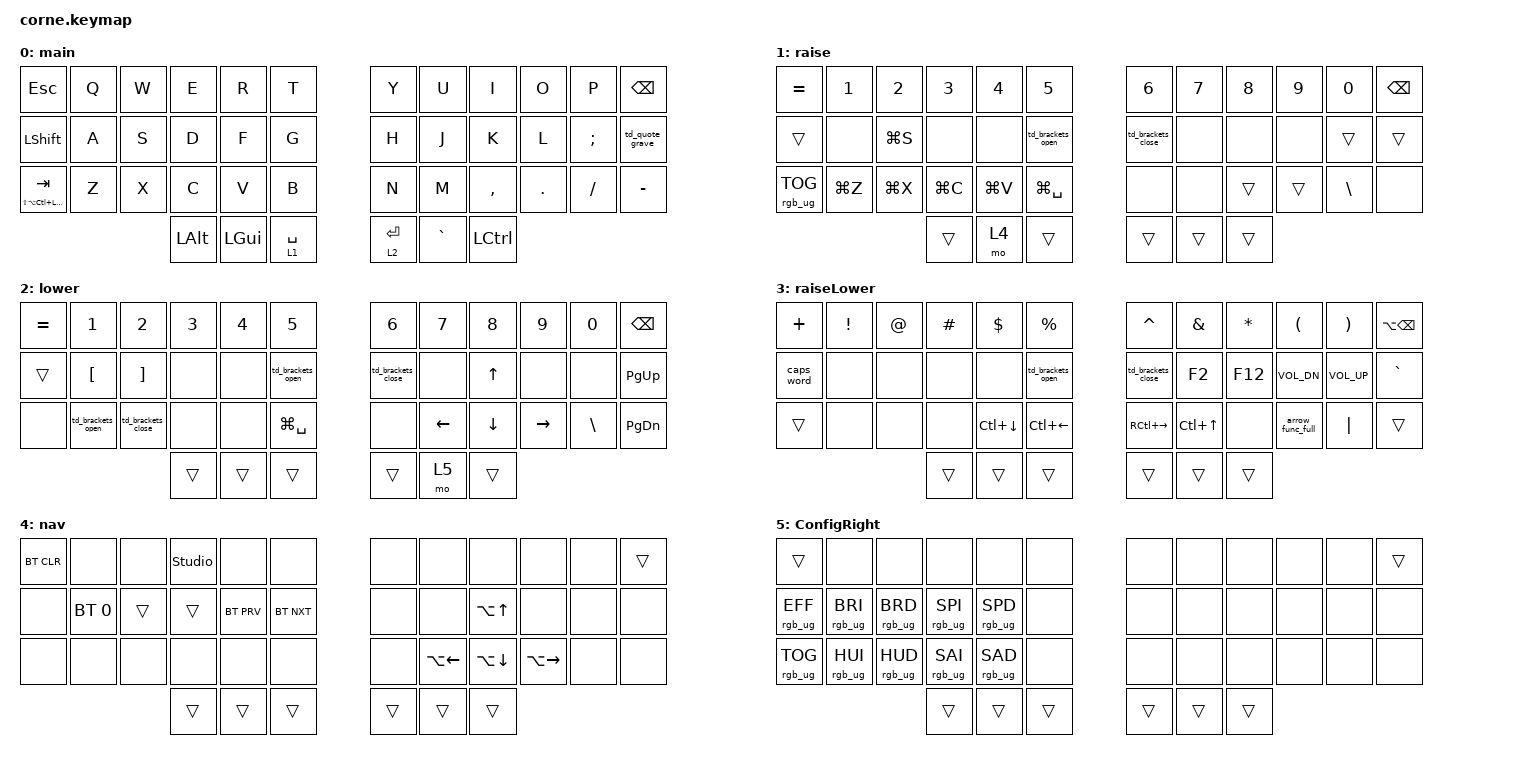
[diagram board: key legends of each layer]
/*
 * Copyright (c) 2020 The ZMK Contributors
 *
 * SPDX-License-Identifier: MIT
 */

#include <dt-bindings/led/led.h>
#include <behaviors.dtsi>
#include <dt-bindings/zmk/bt.h>
#include <dt-bindings/zmk/keys.h>
#include <dt-bindings/zmk/keys.h>
#include <dt-bindings/zmk/rgb.h>

// #include "./macros.dtsi"
// #include "./behaviors.dtsi"

nice_view_spi: &spi0 {
    compatible = "nordic,nrf-spim";
    pinctrl-0 = <&spi0_default>;
    pinctrl-1 = <&spi0_sleep>;
    pinctrl-names = "default", "sleep";

    cs-gpios = <&pro_micro 0 GPIO_ACTIVE_HIGH>;
};

/ {
    macros {
        macro_layer1_pause_release: macro_layer1_pause_release {
            compatible = "zmk,behavior-macro";
            label = "macro_layer1_pause_release";
            #binding-cells = <0>;
            bindings =
                <&macro_press>,
                <&mo 1>,
                <&macro_pause_for_release>,
                <&macro_release>,
                <&mo 1>,
                <&macro_tap>,
                <&to 0>;
        };

        macro_layer2_pause_release: macro_layer2_pause_release {
            compatible = "zmk,behavior-macro";
            label = "macro_layer2_pause_release";
            #binding-cells = <0>;
            bindings =
                <&macro_press>,
                <&mo 2>,
                <&macro_pause_for_release>,
                <&macro_release>,
                <&mo 2>,
                <&macro_tap>,
                <&to 0>;
        };

        macro_cmd_space: macro_cmd_space {
            compatible = "zmk,behavior-macro";
            label = "macro_cmd_space";
            #binding-cells = <0>;
            bindings =
                <&macro_press>,
                <&kp LEFT_GUI>,
                <&macro_tap>,
                <&kp SPACE>,
                <&macro_release>,
                <&kp LEFT_GUI>;
        };

        macro_arrow_function: macro_arrow_function {
            compatible = "zmk,behavior-macro";
            label = "macro_arrow_function";
            #binding-cells = <0>;
            bindings =
                <&macro_tap>,
                <&kp EQUAL>,
                <&macro_tap>,
                <&kp GREATER_THAN>;
        };

        control_right: control_right {
            compatible = "zmk,behavior-macro";
            label = "control_right";
            #binding-cells = <0>;
            bindings =
                <&macro_press>,
                <&kp LEFT_CONTROL>,
                <&macro_tap>,
                <&kp RIGHT>,
                <&macro_release>,
                <&kp LEFT_CONTROL>;
        };

        control_left: control_left {
            compatible = "zmk,behavior-macro";
            label = "control_left";
            #binding-cells = <0>;
            bindings =
                <&macro_press>,
                <&kp LEFT_CONTROL>,
                <&macro_tap>,
                <&kp LEFT>,
                <&macro_release>,
                <&kp LEFT_CONTROL>;
        };

        emoji_press: emoji_press {
            compatible = "zmk,behavior-macro";
            label = "emoji_press";
            #binding-cells = <0>;
            bindings =
                <&macro_press>,
                <&kp LEFT_CONTROL &kp LEFT_COMMAND>,
                <&macro_tap>,
                <&kp SPACE>,
                <&macro_release>,
                <&kp LEFT_CONTROL &kp LEFT_COMMAND>;
        };

        arrow_functions: arrow_functions {
            compatible = "zmk,behavior-macro";
            label = "arrow_functions";
            #binding-cells = <0>;
            bindings =
                <&macro_tap>,
                <&kp LEFT_PARENTHESIS>,
                <&macro_tap>,
                <&kp RIGHT_PARENTHESIS>,
                <&macro_tap>,
                <&kp SPACE>,
                <&macro_tap>,
                <&kp EQUAL>,
                <&macro_tap>,
                <&kp GREATER_THAN>,
                <&macro_tap>,
                <&kp SPACE>,
                <&macro_tap>,
                <&kp LEFT_BRACE>,
                <&macro_tap>,
                <&kp RIGHT_BRACE>,
                <&macro_tap>,
                <&kp LEFT>;
        };
    };

    behaviors {
        ht_tp_l1: hold_tap_layer_1 {
            compatible = "zmk,behavior-hold-tap";
            label = "HOLD_TAP_LAYER_1";
            #binding-cells = <2>;
            flavor = "tap-preferred";
            tapping-term-ms = <200>;
            quick-tap-ms = <125>;
            global-quick-tap;
            bindings = <&macro_layer1_pause_release &kp>;
        };

        ht_tp_l2: hold_tap_layer_2 {
            compatible = "zmk,behavior-hold-tap";
            label = "HOLD_TAP_LAYER_2";
            #binding-cells = <2>;
            flavor = "tap-preferred";
            tapping-term-ms = <200>;
            quick-tap-ms = <125>;
            global-quick-tap;
            bindings = <&macro_layer2_pause_release &kp>;
        };

        td_ctrl_opt: tap_dance_control_option {
            compatible = "zmk,behavior-tap-dance";
            label = "TAP_DANCE_CONTROL_OPTION";
            #binding-cells = <0>;
            tapping-term-ms = <200>;
            bindings = <&kp LEFT_CONTROL>, <&kp LEFT_ALT>;
        };

        td_arrow_function: tap_dance_arrow_function {
            compatible = "zmk,behavior-tap-dance";
            label = "TAP_DANCE_ARROW_FUNCTION";
            #binding-cells = <0>;
            tapping-term-ms = <200>;
            bindings = <&kp SEMI>, <&macro_arrow_function>;
        };

        td_brackets_open: tap_dance_brackets_open {
            compatible = "zmk,behavior-tap-dance";
            label = "TAP_DANCE_BRACKETS_OPEN";
            #binding-cells = <0>;
            tapping-term-ms = <200>;
            bindings = <&kp LEFT_BRACE>, <&kp LBKT>, <&kp LEFT_PARENTHESIS>;
        };

        td_brackets_close: tap_dance_brackets_close {
            compatible = "zmk,behavior-tap-dance";
            label = "TAP_DANCE_BRACKETS_CLOSE";
            #binding-cells = <0>;
            tapping-term-ms = <200>;
            bindings = <&kp RIGHT_BRACE>, <&kp RBKT>, <&kp RIGHT_PARENTHESIS>;
        };

        arrow_func_full: new-behavior {
            compatible = "zmk,behavior-tap-dance";
            label = "NEW_BEHAVIOR";
            #binding-cells = <0>;
            bindings = <&macro_arrow_function>, <&arrow_functions>;

            tapping-term-ms = <400>;
        };

        dbl_tap_hold: dbl_tap_hold {
            compatible = "zmk,behavior-tap-dance";
            label = "DBL_TAP_HOLD";
            #binding-cells = <0>;
            bindings = <&lt 2 ENTER>, <&lt 5 ENTER>;
        };

        td_opt_tog: td_opt_tog {
            compatible = "zmk,behavior-tap-dance";
            label = "TD_OPT_TOG";
            #binding-cells = <0>;
            bindings = <&kp LEFT_ALT>, <&kt LALT>;
        };

        td_quote_grave: td_quote_grave {
            compatible = "zmk,behavior-tap-dance";
            label = "TD_QUOTE_GRAVE";
            #binding-cells = <0>;
            bindings = <&kp SINGLE_QUOTE>, <&kp DOUBLE_QUOTES>, <&kp GRAVE>;

            tapping-term-ms = <150>;
        };

        td_ctrl_tog: td_ctrl_tog {
            compatible = "zmk,behavior-tap-dance";
            label = "TD_CTRL_TOG";
            #binding-cells = <0>;
            bindings = <&kp LEFT_CONTROL>, <&kt LCTRL>;
        };

        td_cmd_tog: td_cmd_tog {
            compatible = "zmk,behavior-tap-dance";
            label = "TD_CMD_TOG";
            #binding-cells = <0>;
            bindings = <&kp LGUI>, <&kt LGUI>;
        };
    };

    conditional_layers {
        compatible = "zmk,conditional-layers";

        tri_layer {
            if-layers = <1 2>;
            then-layer = <3>;
        };
    };

    combos {
        compatible = "zmk,combos";

        raycast {
            bindings = <&macro_cmd_space>;
            key-positions = <53 42>;
            layers = <0 3 1 2>;
        };

        esc {
            bindings = <&kp ESC>;
            key-positions = <1 2>;
            layers = <0 1 2 3 5 4>;
        };

        shift {
            bindings = <&kp LEFT_SHIFT>;
            key-positions = <13 14>;
            layers = <0 1 2 3 5 4>;
        };

        tab {
            bindings = <&kp TAB>;
            key-positions = <25 26>;
            layers = <3 2 1 0 4 5>;
        };

        bkspc {
            bindings = <&kp BACKSPACE>;
            key-positions = <10 9>;
        };

        quote {
            bindings = <&kp SINGLE_QUOTE>;
            key-positions = <22 21>;
        };

        minus {
            bindings = <&kp MINUS>;
            key-positions = <34 33>;
        };

        hr_tab {
            bindings = <&kp TAB>;
            key-positions = <16 15>;
        };

        hr_bkspc {
            bindings = <&kp BACKSPACE>;
            key-positions = <19 20>;
        };
    };

    keymap {
        compatible = "zmk,keymap";

        Default {
            // -----------------------------------------------------------------------------------------
            // |  TAB |  Q  |  W  |  E  |  R  |  T  |   |  Y  |  U   |  I  |  O  |  P  | BKSP |
            // | CTRL |  A  |  S  |  D  |  F  |  G  |   |  H  |  J   |  K  |  L  |  ;  |  '   |
            // | SHFT |  Z  |  X  |  C  |  V  |  B  |   |  N  |  M   |  ,  |  .  |  /  | ESC  |
            //                    | GUI | LWR | SPC |   | ENT | RSE  | ALT |

            bindings = <
&kp ESC                       &kp Q  &kp W  &kp E         &kp R         &kp T        &kp Y        &kp U      &kp I             &kp O    &kp P     &kp BSPC
&kp LEFT_SHIFT                &kp A  &kp S  &kp D         &kp F         &kp G        &kp H        &kp J      &kp K             &kp L    &kp SEMI  &td_quote_grave
&mt LS(LA(LC(LEFT_GUI))) TAB  &kp Z  &kp X  &kp C         &kp V         &kp B        &kp N        &kp M      &kp COMMA         &kp DOT  &kp FSLH  &kp MINUS
                                            &kp LEFT_ALT  &kp LEFT_GUI  &lt 1 SPACE  &lt 2 ENTER  &kp GRAVE  &kp LEFT_CONTROL
            >;

            label = "main";
        };

        Raise {
            // -----------------------------------------------------------------------------------------
            // |  TAB |  1  |  2  |  3  |  4  |  5  |   |  6  |  7  |  8  |  9  |  0  | BKSP |
            // | BTCLR| BT1 | BT2 | BT3 | BT4 | BT5 |   | LFT | DWN |  UP | RGT |     |      |
            // | SHFT |     |     |     |     |     |   |     |     |     |     |     |      |
            //                    | GUI |     | SPC |   | ENT |     | ALT |

            bindings = <
&kp EQUAL        &kp N1     &kp N2     &kp N3     &kp N4     &kp N5             &kp N6              &kp N7  &kp N8  &kp N9  &kp N0         &kp BSPC
&trans           &none      &kp LG(S)  &none      &none      &td_brackets_open  &td_brackets_close  &none   &none   &none   &trans         &trans
&rgb_ug RGB_TOG  &kp LG(Z)  &kp LG(X)  &kp LG(C)  &kp LG(V)  &kp LG(SPACE)      &none               &none   &trans  &trans  &kp BACKSLASH  &none
                                       &trans     &mo 4      &trans             &trans              &trans  &trans
            >;

            label = "raise";
        };

        Lower {
            // -----------------------------------------------------------------------------------------
            // |  TAB |  !  |  @  |  #  |  $  |  %  |   |  ^  |  &  |  *  |  (  |  )  | BKSP |
            // | CTRL |     |     |     |     |     |   |  -  |  =  |  [  |  ]  |  \  |  `   |
            // | SHFT |     |     |     |     |     |   |  _  |  +  |  {  |  }  | "|" |  ~   |
            //                    | GUI |     | SPC |   | ENT |     | ALT |

            bindings = <
&kp EQUAL  &kp NUMBER_1       &kp NUMBER_2        &kp NUMBER_3  &kp NUMBER_4  &kp NUMBER_5       &kp NUMBER_6        &kp NUMBER_7  &kp NUMBER_8  &kp NUMBER_9  &kp NUMBER_0   &kp BSPC
&trans     &kp LBKT           &kp RBKT            &none         &none         &td_brackets_open  &td_brackets_close  &none         &kp UP        &none         &none          &kp PAGE_UP
&none      &td_brackets_open  &td_brackets_close  &none         &none         &kp LG(SPACE)      &none               &kp LEFT      &kp DOWN      &kp RIGHT     &kp BACKSLASH  &kp PAGE_DOWN
                                                  &trans        &trans        &trans             &trans              &mo 5         &trans
            >;

            label = "lower";
        };

        RaiseLower {
            bindings = <
&kp PLUS    &kp EXCL  &kp AT  &kp POUND  &kp DOLLAR    &kp PERCENT        &kp CARET            &kp AMPERSAND     &kp ASTERISK  &kp LEFT_PARENTHESIS  &kp RIGHT_PARENTHESIS  &kp LA(BACKSPACE)
&caps_word  &none     &none   &none      &none         &td_brackets_open  &td_brackets_close   &kp F2            &kp F12       &kp C_VOL_DN          &kp C_VOLUME_UP        &kp GRAVE
&trans      &none     &none   &none      &kp LC(DOWN)  &kp LC(LEFT)       &kp RC(RIGHT_ARROW)  &kp LC(UP_ARROW)  &none         &arrow_func_full      &kp PIPE               &trans
                              &trans     &trans        &trans             &trans               &trans            &trans
            >;

            label = "raiseLower";
        };

        Navigation {
            bindings = <
&bt BT_CLR  &none         &none   &studio_unlock  &none       &none       &none   &none         &none         &none          &none  &trans
&none       &bt BT_SEL 0  &trans  &trans          &bt BT_PRV  &bt BT_NXT  &none   &none         &kp LA(UP)    &none          &none  &none
&none       &none         &none   &none           &none       &none       &none   &kp LA(LEFT)  &kp LA(DOWN)  &kp LA(RIGHT)  &none  &none
                                  &trans          &trans      &trans      &trans  &trans        &trans
            >;

            label = "nav";
        };

        ConfigRight {
            bindings = <
&trans           &none            &none            &none            &none            &none   &none   &none   &none   &none  &none  &trans
&rgb_ug RGB_EFF  &rgb_ug RGB_BRI  &rgb_ug RGB_BRD  &rgb_ug RGB_SPI  &rgb_ug RGB_SPD  &none   &none   &none   &none   &none  &none  &none
&rgb_ug RGB_TOG  &rgb_ug RGB_HUI  &rgb_ug RGB_HUD  &rgb_ug RGB_SAI  &rgb_ug RGB_SAD  &none   &none   &none   &none   &none  &none  &none
                                                   &trans           &trans           &trans  &trans  &trans  &trans
            >;
        };
    };
};
